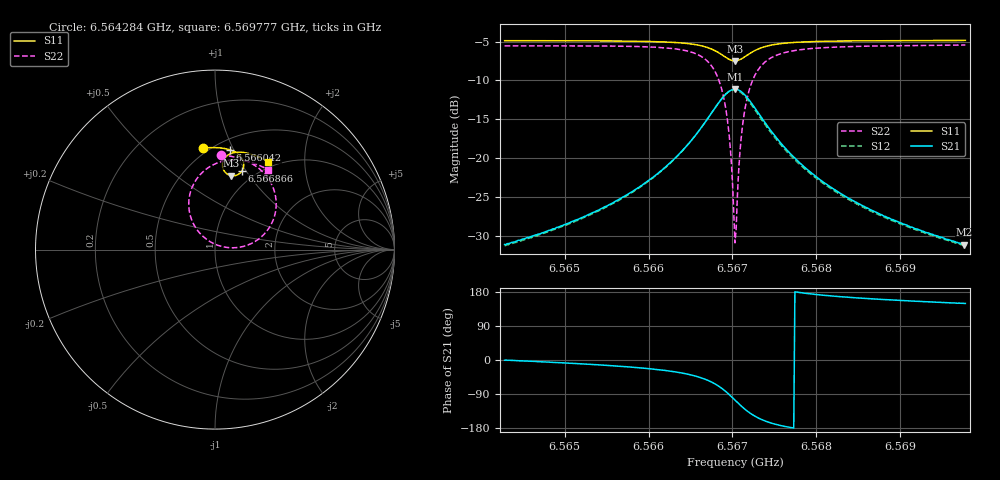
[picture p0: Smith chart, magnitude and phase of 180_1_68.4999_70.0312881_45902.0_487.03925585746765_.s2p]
#  HZ  S  RI  R  50.00
! Rohde & Schwarz Vector Network Analyzer
! Rohde-Schwarz,ZNB20-2Port,1311601062101988,3.16
! Created: UTC 3/20/2024, 4:56:40 PM
! freq[Hz]  re:S11  im:S11  re:S21  im:S21  re:S12  im:S12  re:S22  im:S22
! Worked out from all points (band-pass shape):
!   401 points, 6.564284 GHz to 6.569777 GHz, reference 50 ohm
!   highest |S21| = -11.14 dB at 6.567031 GHz (marker M1); lowest = -31.2 dB at 6.569763 GHz (marker M2)
!   |S21| within 3 dB of the highest: 6.566755 GHz to 6.567304 GHz (549.7 kHz wide, 0.00837 % of centre)
!   lowest |S11| = -7.5 dB at 6.567031 GHz (marker M3), VSWR 2.46, Z = 41 + j41.1 ohm
!   |S11| at or under -10 dB: nowhere
!   |S22| runs from -30.9 to -5.5 dB; largest |S21 - S12| = 0.013
!   S11 on the Smith chart (normalised r, x): 6.564284 GHz: 0.46, +0.77; 6.566042 GHz: 0.60, +0.97; 6.566866 GHz: 0.86, +0.96; 6.569777 GHz: 0.91, +1.33
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6.564284e9  -0.068 0.5651  0.0278 -0.00026  0.0273 -0.000719  0.0323 0.5263
6.5652041e9  0.00714 0.568  0.0408 -0.00752  0.04 -0.00792  0.1191 0.5134
6.5660417e9  0.0848 0.5554  0.0682 -0.0301  0.0672 -0.0308  0.2267 0.4657
6.5661241e9  0.0935 0.5522  0.0729 -0.0351  0.0718 -0.0358  0.2407 0.4556
6.5664125e9  0.1265 0.5345  0.0926 -0.065  0.0912 -0.0662  0.2967 0.3962
6.5666323e9  0.152 0.505  0.1071 -0.1162  0.1047 -0.1186  0.3373 0.2968
6.5667696e9  0.1602 0.4715  0.0998 -0.1752  0.0956 -0.1785  0.3308 0.1844
6.5668657e9  0.1512 0.4403  0.0672 -0.2286  0.0595 -0.2315  0.2722 0.0843
6.5669481e9  0.126 0.4172  0.00701 -0.2659  -0.00394 -0.2658  0.1615 0.0186
6.5669756e9  0.114 0.4129  -0.0195 -0.2714  -0.0311 -0.2698  0.1139 0.0106
6.5670168e9  0.0942 0.4115  -0.0615 -0.2701  -0.0732 -0.2652  0.0392 0.017
6.5670305e9  0.0876 0.4126  -0.0754 -0.2669  -0.0869 -0.261  0.0149 0.0243
6.567058e9  0.075 0.417  -0.1018 -0.2563  -0.1124 -0.2486  -0.0305 0.046
6.5670992e9  0.059 0.4283  -0.1357 -0.2325  -0.1438 -0.2223  -0.0859 0.0929
6.5671404e9  0.0481 0.4432  -0.1597 -0.202  -0.1651 -0.1909  -0.123 0.1492
6.5671953e9  0.0416 0.4646  -0.1764 -0.1596  -0.1786 -0.1486  -0.1446 0.2255
6.567264e9  0.0437 0.4886  -0.1789 -0.1128  -0.178 -0.1034  -0.1402 0.3072
6.5675111e9  0.0821 0.5326  -0.1355 -0.025  -0.1326 -0.021  -0.042 0.4534
6.5679506e9  0.1426 0.5429  -0.0791 0.00829  -0.0772 0.00958  0.0874 0.4993
6.5688707e9  0.2278 0.5218  -0.0384 0.0148  -0.0375 0.0151  0.2176 0.4811
6.5697633e9  0.2936 0.4898  -0.0237 0.0142  -0.0234 0.0143  0.2952 0.4447
6.569777e9  0.2945 0.4893  -0.0238 0.0142  -0.0231 0.0142  0.2963 0.4442
